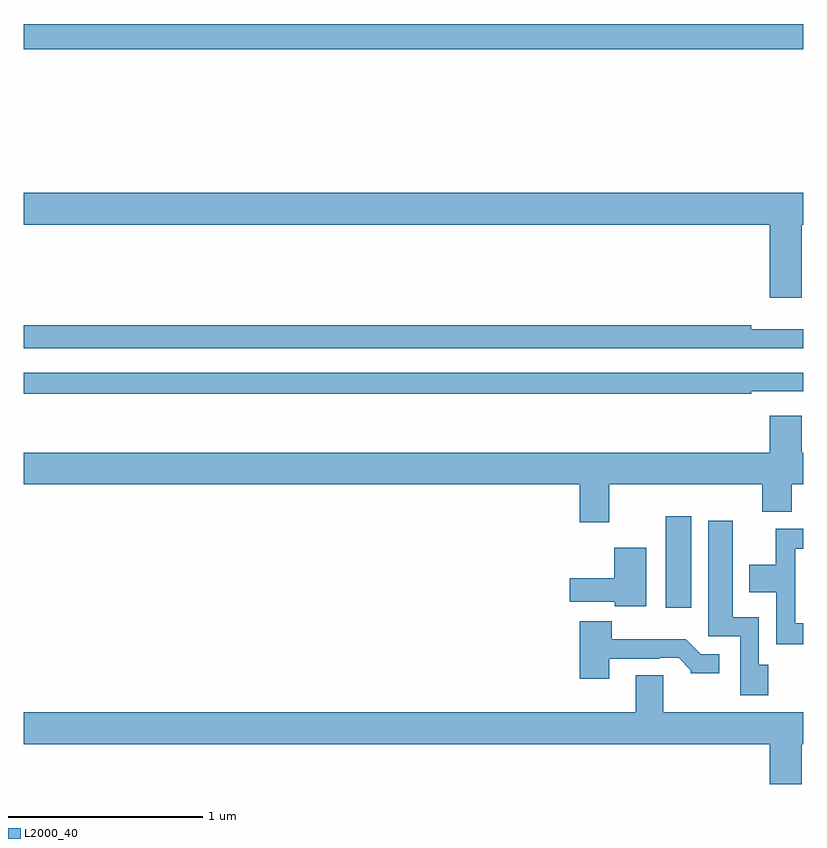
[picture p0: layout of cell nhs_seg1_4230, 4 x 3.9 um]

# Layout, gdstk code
import gdstk
lib = gdstk.Library(unit=1e-6, precision=1e-09)
def R(c, l, rs):  # rectangles x0, y0, x1, y1
    for r in rs: c.add(gdstk.rectangle(r[:2], r[2:], *l))
def P(c, l, *ps):  # polygons
    for p in ps: c.add(gdstk.Polygon(p, *l))
L2000_40 = (2000, 40)

nhs_seg1_4230 = lib.new_cell('nhs_seg1_4230')
R(nhs_seg1_4230, L2000_40, [(344.294,547.104,344.425,547.573), (341,549.97,345,550.099)])
P(nhs_seg1_4230, L2000_40, [(344.992,549.068),(345,549.068),(345,549.232),(341,549.232),(341,549.068),(344.828,549.068),(344.828,548.694),(344.992,548.694)],
  [(345,548.533),(344.732,548.533),(344.732,548.552),(341,548.552),(341,548.436),(345,548.436)],
  [(344.732,548.214),(345,548.214),(345,548.31),(341,548.31),(341,548.202),(344.732,548.202)],
  [(344.005,547.736),(344.789,547.736),(344.789,547.595),(344.941,547.595),(344.941,547.736),(345,547.736),(345,547.9),(344.992,547.9),(344.992,548.089),(344.828,548.089),(344.828,547.9),(341,547.9),(341,547.736),(343.853,547.736),(343.853,547.542),(344.005,547.542)],
  [(344.82,546.81),(344.772,546.81),(344.772,547.054),(344.638,547.054),(344.638,547.549),(344.513,547.549),(344.513,546.957),(344.676,546.957),(344.676,546.654),(344.82,546.654)],
  [(345,547.023),(344.958,547.023),(344.958,547.406),(345,547.406),(345,547.51),(344.86,547.51),(344.86,547.324),(344.723,547.324),(344.723,547.184),(344.862,547.184),(344.862,546.915),(345,546.915)],
  [(344.194,547.411),(344.03,547.411),(344.03,547.255),(343.803,547.255),(343.803,547.133),(344.034,547.133),(344.034,547.112),(344.194,547.112)],
  [(344.005,546.843),(344.261,546.843),(344.261,546.846),(344.36,546.846),(344.424,546.782),(344.424,546.767),(344.569,546.767),(344.569,546.864),(344.475,546.864),(344.397,546.943),(344.018,546.943),(344.018,547.033),(343.853,547.033),(343.853,546.738),(344.005,546.738)],
  [(344.992,546.404),(345,546.404),(345,546.568),(344.281,546.568),(344.281,546.758),(344.141,546.758),(344.141,546.568),(341,546.568),(341,546.404),(344.828,546.404),(344.828,546.199),(344.992,546.199)])

lib.write_gds('nhs_seg1_4230.gds')
